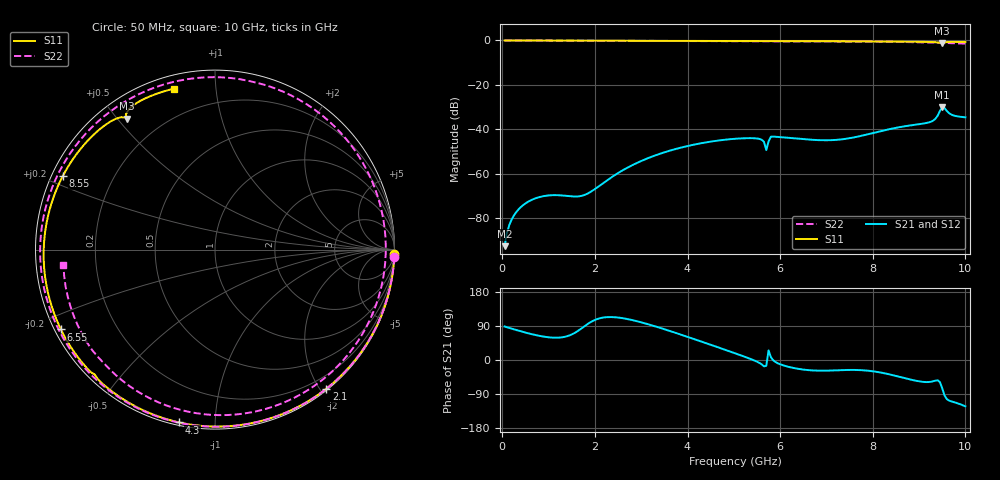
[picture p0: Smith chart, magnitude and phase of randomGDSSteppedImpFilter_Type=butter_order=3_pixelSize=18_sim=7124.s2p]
! freq	dB(S11)	phase(S11)	dB(S12)	phase(S12)
!  dB(S21)	phase(S21)	dB(S22)	phase(S22)
!S-par simulation data
#  GHz  S  DB  R 50
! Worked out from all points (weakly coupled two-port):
!   200 points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, 50 MHz to 10 GHz, reference 50 ohm
!   highest |S21| = -30.01 dB at 9.5 GHz (marker M1); lowest = -92.7 dB at 50 MHz (marker M2)
!   lowest |S11| = -1.1 dB at 9.5 GHz (marker M3), VSWR 15.67, Z = 4.08 + j26.4 ohm
!   |S11| at or under -10 dB: nowhere
!   |S22| runs from -1.4 to 0.0 dB; largest |S21 - S12| = 0
!   S11 on the Smith chart (normalised r, x): 50 MHz: 1, -91; 2.1 GHz: 0.02, -2.08; 4.3 GHz: 0.01, -0.81; 6.55 GHz: 0.02, -0.24; 8.55 GHz: 0.03, +0.23; 10 GHz: 0.06, +0.77
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0.05  -0.00 -1.3  -92.67 88.3  -92.67 88.3  -0.00 -2.5
0.2  -0.01 -5.0  -80.74 82.8  -80.74 82.8  -0.02 -9.8
0.45  -0.01 -11.2  -74.19 74.0  -74.19 74.0  -0.03 -22.0
0.8  -0.02 -19.9  -70.57 63.7  -70.57 63.7  -0.05 -38.8
1.75  -0.05 -43.0  -69.79 86.9  -69.79 86.9  -0.10 -83.6
2.1  -0.07 -51.3  -65.45 109.9  -65.45 109.9  -0.13 -99.7
2.7  -0.08 -65.4  -57.34 108.1  -57.34 108.1  -0.16 -127.1
3.4  -0.11 -81.5  -51.08 85.1  -51.08 85.1  -0.20 -159.5
4.3  -0.14 -101.8  -46.28 48.6  -46.28 48.6  -0.26 156.4
5.05  -0.18 -118.5  -44.25 16.7  -44.25 16.7  -0.32 116.2
5.6  -0.22 -130.9  -44.71 -11.5  -44.71 -11.5  -0.35 84.5
5.7  -0.28 -133.3  -49.36 -15.5  -49.36 -15.5  -0.37 78.6
5.8  -0.26 -135.0  -43.39 7.5  -43.39 7.5  -0.37 72.7
6.55  -0.29 -152.6  -44.54 -26.0  -44.54 -26.0  -0.40 27.6
6.7  -0.31 -156.2  -44.76 -27.5  -44.76 -27.5  -0.41 18.7
7.45  -0.38 -174.8  -44.20 -26.3  -44.20 -26.3  -0.47 -24.3
8.35  -0.49 160.3  -40.01 -37.6  -40.01 -37.6  -0.62 -72.6
8.55  -0.52 154.3  -39.16 -43.5  -39.16 -43.5  -0.67 -83.1
9.25  -0.68 131.0  -36.66 -57.5  -36.66 -57.5  -0.94 -122.0
9.5  -1.11 124.1  -30.01 -74.7  -30.01 -74.7  -1.06 -137.3
9.7  -0.66 116.7  -33.43 -109.4  -33.43 -109.4  -1.18 -151.2
10  -0.67 104.4  -34.63 -122.3  -34.63 -122.3  -1.42 -174.1
